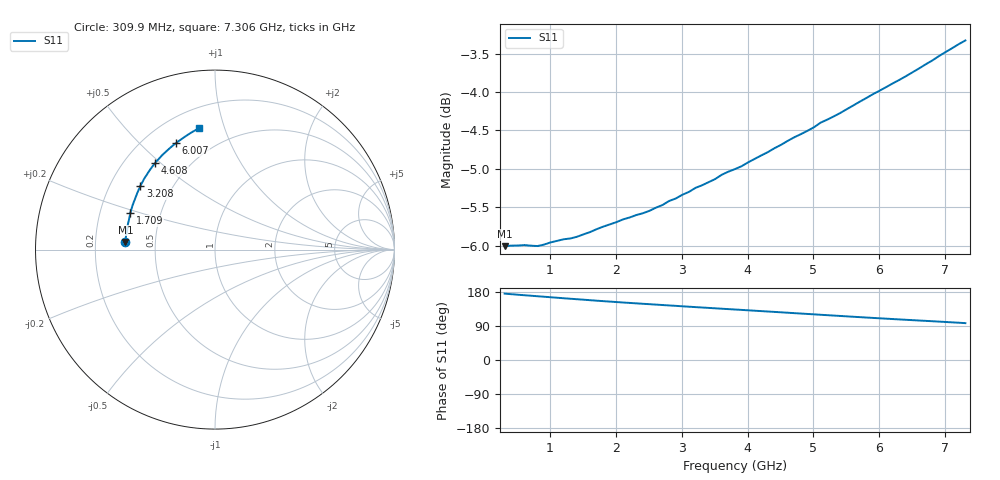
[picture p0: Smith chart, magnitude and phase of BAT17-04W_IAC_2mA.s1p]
! Infineon Technologies  Discrete & RF Semiconductors
! BAT17-04W
! IAC = 2 mA
! One-Port S-Parameters
# Hz  S  MA  R  50
!f  S11
!Hz  Mag  Ang
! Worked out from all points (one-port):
!   71 points, 309.9 MHz to 7.306 GHz, reference 50 ohm
!   lowest |S11| = -6.0 dB at 309.9 MHz (marker M1), VSWR 3.01, Z = 16.7 + j1.89 ohm
!   |S11| at or under -10 dB: nowhere
!   S11 on the Smith chart (normalised r, x): 309.9 MHz: 0.33, +0.04; 1.709 GHz: 0.33, +0.19; 3.208 GHz: 0.33, +0.33; 4.608 GHz: 0.33, +0.48; 6.007 GHz: 0.33, +0.65; 7.306 GHz: 0.33, +0.83
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3.0985e8  0.5008 175.1
6.097e8  0.5017 170.9
8.096e8  0.5009 168.3
1.0095e9  0.5037 165.6
1.2094e9  0.5061 162.9
1.4093e9  0.508 160.4
1.70915e9  0.5138 156.5
2.10895e9  0.5214 151.7
2.50875e9  0.5281 147.3
2.8086e9  0.5359 144.0
2.90855e9  0.5379 142.9
3.0085e9  0.5409 141.7
3.2084e9  0.5465 139.6
3.50825e9  0.5538 136.4
3.6082e9  0.5574 135.3
3.8081e9  0.5621 133.2
4.2079e9  0.5738 129.0
4.6077e9  0.5864 124.8
4.70765e9  0.5896 123.7
5.0075e9  0.5985 120.5
5.10745e9  0.6026 119.4
5.6072e9  0.6185 114.1
6.007e9  0.6323 110.0
6.50675e9  0.65 105.1
6.8066e9  0.6615 102.3
7.0065e9  0.6699 100.3
7.2064e9  0.6779 98.3
7.30635e9  0.6816 97.3
